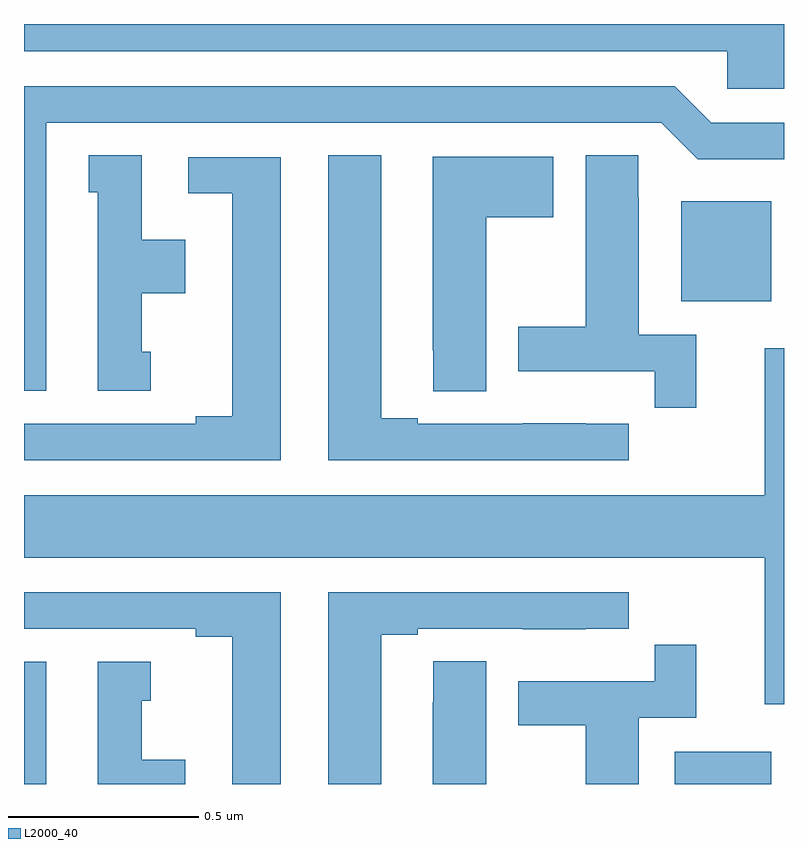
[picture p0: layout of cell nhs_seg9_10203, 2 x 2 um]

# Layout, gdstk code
import gdstk
lib = gdstk.Library(unit=1e-6, precision=1e-09)
def R(c, l, rs):  # rectangles x0, y0, x1, y1
    for r in rs: c.add(gdstk.rectangle(r[:2], r[2:], *l))
def P(c, l, *ps):  # polygons
    for p in ps: c.add(gdstk.Polygon(p, *l))
L2000_40 = (2000, 40)

nhs_seg9_10203 = lib.new_cell('nhs_seg9_10203')
R(nhs_seg9_10203, L2000_40, [(240,1186.5,240.058,1186.822), (241.712,1186.5,241.966,1186.585), (241.73,1187.771,241.966,1188.034)])
P(nhs_seg9_10203, L2000_40, [(242,1188.5),(240,1188.5),(240,1188.428),(241.851,1188.428),(241.851,1188.33),(242,1188.33)],
  [(240.058,1188.24),(241.677,1188.24),(241.773,1188.144),(242,1188.144),(242,1188.24),(241.809,1188.24),(241.713,1188.336),(240,1188.336),(240,1187.535),(240.058,1187.535)],
  [(241.591,1187.448),(241.478,1187.448),(241.478,1187.449),(241.312,1187.449),(241.312,1187.448),(241.036,1187.448),(241.036,1187.463),(240.94,1187.463),(240.94,1188.155),(240.8,1188.155),(240.8,1187.352),(241.591,1187.352)],
  [(240.334,1187.637),(240.31,1187.637),(240.31,1187.792),(240.424,1187.792),(240.424,1187.932),(240.31,1187.932),(240.31,1188.155),(240.17,1188.155),(240.17,1188.057),(240.194,1188.057),(240.194,1187.535),(240.334,1187.535)],
  [(241.769,1187.682),(241.618,1187.682),(241.618,1188.044),(241.617,1188.044),(241.617,1188.155),(241.478,1188.155),(241.478,1187.703),(241.301,1187.703),(241.301,1187.586),(241.66,1187.586),(241.66,1187.49),(241.769,1187.49)],
  [(241.216,1187.992),(241.393,1187.992),(241.393,1188.151),(241.076,1188.151),(241.076,1187.641),(241.077,1187.641),(241.077,1187.533),(241.216,1187.533)],
  [(240.676,1188.15),(240.432,1188.15),(240.432,1188.054),(240.548,1188.054),(240.548,1187.468),(240.452,1187.468),(240.452,1187.448),(240,1187.448),(240,1187.352),(240.676,1187.352)],
  [(242,1187.647),(241.949,1187.647),(241.949,1187.26),(240,1187.26),(240,1187.096),(241.949,1187.096),(241.949,1186.71),(242,1186.71)],
  [(240.676,1187.004),(240,1187.004),(240,1186.908),(240.452,1186.908),(240.452,1186.888),(240.548,1186.888),(240.548,1186.5),(240.676,1186.5)],
  [(240.94,1186.893),(241.036,1186.893),(241.036,1186.908),(241.312,1186.908),(241.312,1186.907),(241.478,1186.907),(241.478,1186.908),(241.591,1186.908),(241.591,1187.004),(240.8,1187.004),(240.8,1186.5),(240.94,1186.5)],
  [(241.618,1186.674),(241.769,1186.674),(241.769,1186.867),(241.66,1186.867),(241.66,1186.77),(241.301,1186.77),(241.301,1186.654),(241.478,1186.654),(241.478,1186.5),(241.618,1186.5)],
  [(241.216,1186.823),(241.077,1186.823),(241.077,1186.715),(241.076,1186.715),(241.076,1186.5),(241.216,1186.5)],
  [(240.424,1186.564),(240.31,1186.564),(240.31,1186.719),(240.334,1186.719),(240.334,1186.822),(240.194,1186.822),(240.194,1186.5),(240.424,1186.5)])

lib.write_gds('nhs_seg9_10203.gds')
